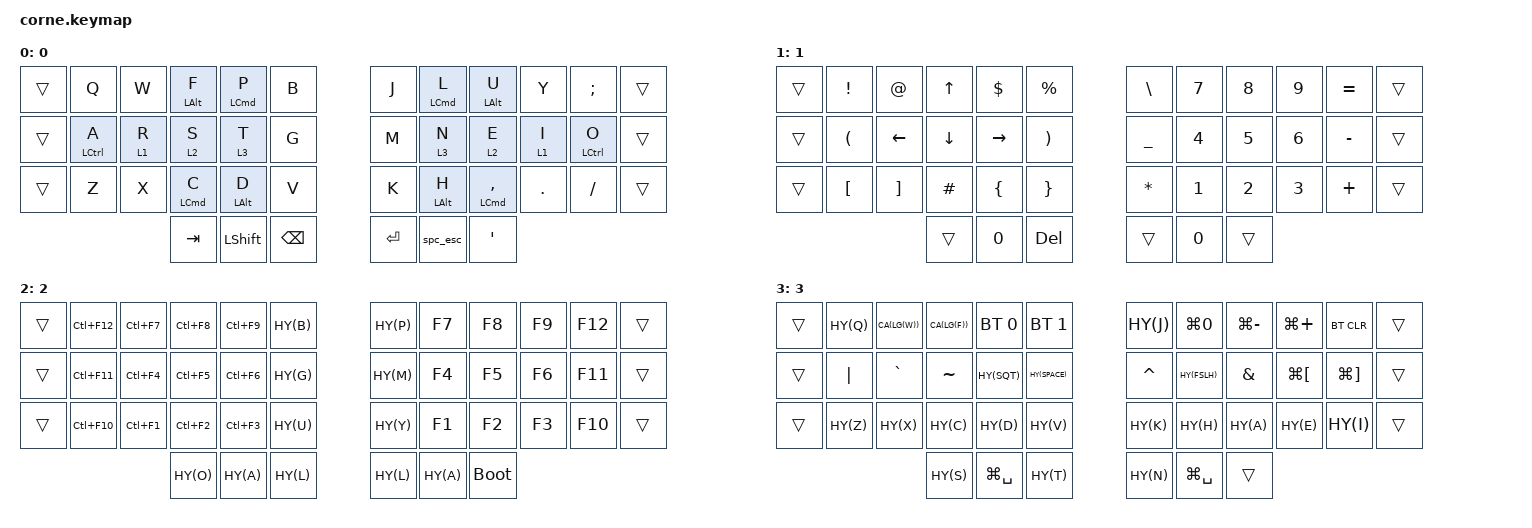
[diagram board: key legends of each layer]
/*
 * Copyright (c) 2020 The ZMK Contributors
 *
 * SPDX-License-Identifier: MIT
 */

#include <behaviors.dtsi>
#include <dt-bindings/zmk/keys.h>
#include <dt-bindings/zmk/bt.h>

#define CA(key) LC(LA(key))
#define HY(key) CA(LS(LG(key)))

#define LH 0 1 2 3 4 5 12 13 14 15 16 17 24 25 26 27 28 29 36 37 38
#define RH 6 7 8 9 10 11 18 19 20 21 22 23 30 31 32 33 34 35 39 40 41
#define PRIOR_IDLE 100
#define TAP_TERM 200

/ {
        behaviors {
                spc_esc: space_escape_tap_dance {
                    compatible = "zmk,behavior-tap-dance";
                    display-name = "SPACE_ESC";
                    #binding-cells = <0>;
                    tapping-term-ms = <TAP_TERM>;
                    bindings = <&kp SPACE>, <&kp ESC>;
                };
                lh_lt: lh_positional_layer_tap {
                    compatible = "zmk,behavior-hold-tap";
                    display-name = "LEFT_HAND_LAYER_TAP";
                    #binding-cells = <2>;
                    flavor = "balanced";
                    tapping-term-ms = <TAP_TERM>;
                    require-prior-idle-ms = <PRIOR_IDLE>;
                    bindings = <&mo>, <&kp>;
                    hold-trigger-key-positions = <RH>;
                };
                rh_lt: rh_positional_layer_tap {
                    compatible = "zmk,behavior-hold-tap";
                    display-name = "RIGHT_HAND_LAYER_TAP";
                    #binding-cells = <2>;
                    flavor = "balanced";
                    tapping-term-ms = <TAP_TERM>;
                    require-prior-idle-ms = <PRIOR_IDLE>;
                    bindings = <&mo>, <&kp>;
                    hold-trigger-key-positions = <LH>;
                };
                lh_mt: lh_positional_mod_tap {
                    compatible = "zmk,behavior-hold-tap";
                    display-name = "LEFT_HAND_MOD_TAP";
                    #binding-cells = <2>;
                    flavor = "balanced";
                    tapping-term-ms = <TAP_TERM>;
                    require-prior-idle-ms = <PRIOR_IDLE>;
                    bindings = <&kp>, <&kp>;
                    hold-trigger-key-positions = <RH>;
                    hold-trigger-on-release;
                };
                rh_mt: rh_positional_mod_tap {
                    compatible = "zmk,behavior-hold-tap";
                    display-name = "RIGHT_HAND_MOD_TAP";
                    #binding-cells = <2>;
                    flavor = "balanced";
                    tapping-term-ms = <TAP_TERM>;
                    require-prior-idle-ms = <PRIOR_IDLE>;
                    bindings = <&kp>, <&kp>;
                    hold-trigger-key-positions = <LH>;
                    hold-trigger-on-release;
                };
        };
        keymap {
                compatible = "zmk,keymap";

                default_layer {
                        display-name = "0";
                        bindings = <
   &trans &kp Q           &kp W         &lh_mt LALT F &lh_mt LCMD P &kp B    &kp J   &rh_mt LCMD L &rh_mt LALT U     &kp Y         &kp SEMI           &trans
   &trans &lh_mt LCTRL A  &lh_lt 1 R    &lh_lt 2 S    &lh_lt 3 T    &kp G    &kp M   &rh_lt 3 N    &rh_lt 2 E        &rh_lt 1 I    &rh_mt LCTRL O     &trans
   &trans &kp Z           &kp X         &lh_mt LCMD C &lh_mt LALT D &kp V    &kp K   &rh_mt LALT H &rh_mt LCMD COMMA &kp DOT       &kp FSLH           &trans
                                        &kp TAB       &kp LSHFT     &kp BSPC &kp RET &spc_esc      &kp SQT
                        >;
                };
                1_layer {
                        display-name = "1";
                        bindings = <
   &trans  &kp EXCL &kp AT   &kp UP   &kp DLLR  &kp PRCNT &kp BSLH  &kp N7 &kp N8 &kp N9 &kp EQUAL &trans
   &trans  &kp LPAR &kp LEFT &kp DOWN &kp RIGHT &kp RPAR  &kp UNDER &kp N4 &kp N5 &kp N6 &kp MINUS &trans
   &trans  &kp LBKT &kp RBKT &kp HASH &kp LBRC  &kp RBRC  &kp ASTRK &kp N1 &kp N2 &kp N3 &kp PLUS  &trans
                             &trans   &kp N0    &kp DEL   &trans    &kp N0 &trans
                        >;
                };

                2_layer {
                        display-name = "2";
                        bindings = <
   &trans  &kp LC(F12) &kp LC(F7) &kp LC(F8) &kp LC(F9) &kp HY(B) &kp HY(P) &kp F7    &kp F8    &kp F9 &kp F12 &trans
   &trans  &kp LC(F11) &kp LC(F4) &kp LC(F5) &kp LC(F6) &kp HY(G) &kp HY(M) &kp F4    &kp F5    &kp F6 &kp F11 &trans
   &trans  &kp LC(F10) &kp LC(F1) &kp LC(F2) &kp LC(F3) &kp HY(U) &kp HY(Y) &kp F1    &kp F2    &kp F3 &kp F10 &trans
                  	              &kp HY(O)  &kp HY(A)  &kp HY(L) &kp HY(L) &kp HY(A) &bootloader
                        >;
                };
                3_layer {
                        display-name = "3";
                        bindings = <
   &trans  &kp HY(Q) &kp CA(LG(W)) &kp CA(LG(F)) &bt BT_SEL 0  &bt BT_SEL 1  &kp HY(J) &kp LG(N0)    &kp LG(MINUS) &kp LG(PLUS) &bt BT_CLR   &trans
   &trans  &kp PIPE  &kp GRAVE     &kp TILDE     &kp HY(SQT)   &kp HY(SPACE) &kp CARET &kp HY(FSLH)  &kp AMPS      &kp LG(LBKT) &kp LG(RBKT) &trans
   &trans  &kp HY(Z) &kp HY(X)     &kp HY(C)     &kp HY(D)     &kp HY(V)     &kp HY(K) &kp HY(H)     &kp HY(A)     &kp HY(E)    &kp HY(I)    &trans
                  	               &kp HY(S)     &kp LG(SPACE) &kp HY(T)     &kp HY(N) &kp LG(SPACE) &trans
                        >;
                };

                extra_1 {
                        status = "reserved";
                };

                extra_2 {
                        status = "reserved";
                };

                extra_3 {
                        status = "reserved";
                };
        };
};
